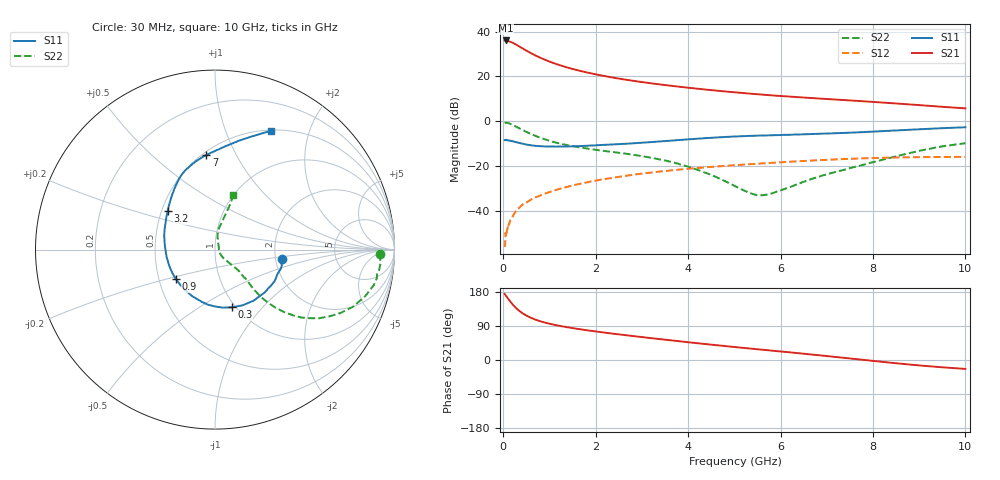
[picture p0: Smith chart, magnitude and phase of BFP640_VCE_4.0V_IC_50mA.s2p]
! (c) 2013  Infineon Technologies AG, Munich
! Infineon Technologies  Discrete & RF Semiconductors
! BFP640
! VCE =  4.0 V,  IC =  50 mA
! Common Emitter S-Parameters:  Apr 2013
# GHz  S  MA  R  50
!  f  S11  S21  S12  S22
! GHz  MAG  ANG  MAG  ANG  MAG  ANG  MAG  ANG
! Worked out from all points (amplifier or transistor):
!   99 points, 30 MHz to 10 GHz, reference 50 ohm
!   highest |S21| = 36.1 dB at 50 MHz (marker M1)
!   |S21| within 3 dB of that: start of sweep to 372.7 MHz
!   unconditionally stable (mu >= 1): 1.61 GHz to end of sweep
!   at 350 MHz: K = 0.55, MSG = 36.0 dB, |S12| = -38.7 dB
!   at 3.5 GHz: K = 1.07, MAG = 17.6 dB, |S12| = -22.3 dB
!   at 10 GHz: K = 1.06, MAG = 9.3 dB, |S12| = -16.0 dB
!   S11 on the Smith chart (normalised r, x): 30 MHz: 2.17, -0.26; 300 MHz: 0.96, -0.70; 900 MHz: 0.61, -0.22; 3.2 GHz: 0.54, +0.26; 7 GHz: 0.52, +0.77; 10 GHz: 0.51, +1.45
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0.03  0.3768 -7.7  63.6 174.5  0.0017 48.8  0.9173 -1.4
0.05  0.3824 -13.5  63.87 171.4  0.0032 65.8  0.9263 -4.7
0.08  0.3733 -21.8  63.23 166.1  0.0036 41.3  0.913 -8.6
0.15  0.3656 -40.9  59.92 154.7  0.006 74.1  0.8739 -17.5
0.2  0.3565 -53.0  56.89 147.2  0.0073 72.4  0.83 -22.7
0.25  0.3464 -63.7  53.63 140.5  0.0089 69.5  0.7834 -26.8
0.3  0.3353 -73.6  50.07 134.6  0.0107 68.4  0.7352 -30.5
0.35  0.3263 -82.3  46.62 129.5  0.0116 66.9  0.6921 -33.6
0.45  0.3093 -97.5  40.58 120.9  0.0145 67.9  0.612 -38.2
0.6  0.2888 -116.0  33.22 111.3  0.0176 65.7  0.5169 -42.2
0.7  0.2802 -126.4  29.37 106.4  0.0198 66.3  0.4678 -43.8
0.9  0.2724 -142.8  23.73 98.8  0.0239 64.8  0.3928 -45.5
1.2  0.2703 -161.4  18.2 90.5  0.0302 64.3  0.32 -45.8
1.7  0.2784 177.4  13.06 80.5  0.0406 61.6  0.2548 -44.1
2.4  0.3031 157.8  9.334 69.1  0.0548 56.7  0.2026 -43.0
3.2  0.3405 140.8  7.029 57.7  0.0709 50.3  0.1518 -42.2
3.4  0.353 137.0  6.614 55.0  0.075 48.6  0.1385 -42.8
5.1  0.4581 113.6  4.338 33.1  0.1051 33.7  0.0318 -34.5
6.7  0.5166 98.7  3.277 14.1  0.1321 19.5  0.0521 71.5
7  0.5287 95.2  3.135 10.4  0.1367 16.6  0.0645 76.7
8.5  0.6205 77.7  2.489 -8.6  0.1542 1.4  0.1636 75.7
10  0.7309 64.9  1.935 -23.5  0.1594 -10.6  0.3214 71.3
